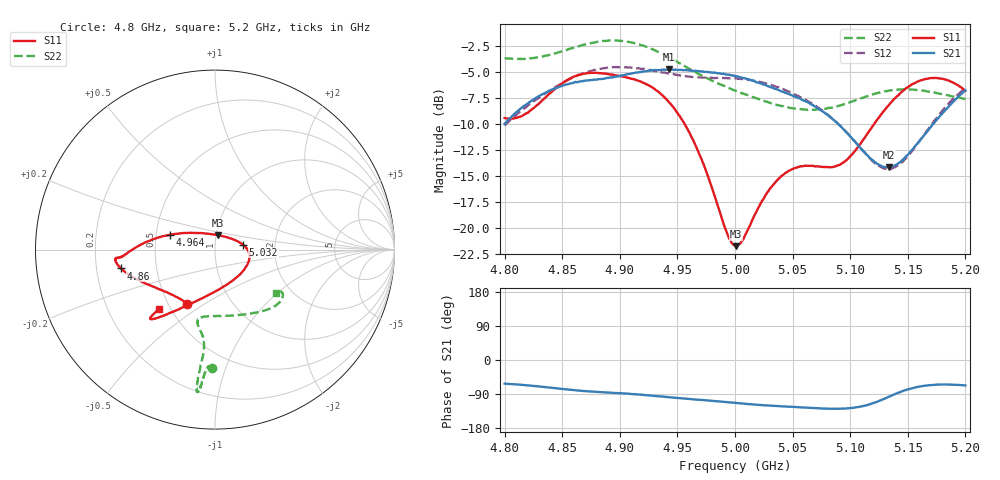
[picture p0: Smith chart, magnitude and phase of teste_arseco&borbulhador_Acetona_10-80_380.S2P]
! Network Analyzer HP8722D
! Hewlett-Packard
! Data name: Linha & Wilkinson
! Saver's name: Rodrigo Anjos
! Comments: Teste da utilização de aquisição
! continua pelo VNA HP8722D
! Time and date: 17/4/2025 17:31
!  Frequency  S11  S21  S12  S22
# HZ  S  MA R 50
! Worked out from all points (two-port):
!   401 points, 4.8 GHz to 5.2 GHz, reference 50 ohm
!   highest |S21| = -4.74 dB at 4.943 GHz (marker M1); lowest = -14.2 dB at 5.134 GHz (marker M2)
!   |S21| within 3 dB of the highest: 4.824 GHz to 5.06 GHz (236.1 MHz wide, 4.78 % of centre); 5.190444 GHz to end of sweep
!   lowest |S11| = -21.8 dB at 5.001 GHz (marker M3), VSWR 1.18, Z = 50.9 + j8.2 ohm
!   |S11| at or under -10 dB: 4.956 GHz to 5.121 GHz (164.6 MHz wide, 3.27 % of centre)
!   |S22| runs from -8.6 to -1.9 dB; largest |S21 - S12| = 0.87
!   S11 on the Smith chart (normalised r, x): 4.8 GHz: 0.62, -0.42; 4.86 GHz: 0.31, -0.09; 4.964 GHz: 0.59, +0.11; 5.032 GHz: 1.37, +0.08; 5.2 GHz: 0.43, -0.36
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4.8e9  0.338 -117.2  0.317 -62.4  0.3106 -176.6  0.6577 -91.6
4.818e9  0.3532 -136.3  0.39 -66.4  0.38 -176.4  0.6528 -93.1
4.86e9  0.535 -168.7  0.5008 -79.6  0.5325 -179.6  0.7374 -95.4
4.867e9  0.55 -171.3  0.5096 -81.7  0.5527 179.1  0.7574 -95.8
4.899e9  0.5393 -175.3  0.5378 -87.5  0.5938 173.0  0.7963 -97.2
4.934e9  0.4501 179.2  0.5755 -96.0  0.5668 170.0  0.7007 -97.4
4.943e9  0.4012 175.0  0.5793 -98.5  0.5546 169.9  0.6615 -97.2
4.964e9  0.2623 161.4  0.5699 -103.7  0.5318 171.8  0.5671 -96.5
4.975e9  0.1869 150.4  0.5644 -106.5  0.5272 172.9  0.5274 -96.7
4.993e9  0.09448 111.4  0.5471 -111.2  0.5261 174.2  0.4752 -98.9
5e9  0.08232 84.1  0.5393 -113.3  0.5254 174.1  0.4587 -100.2
5.001e9  0.08148 79.4  0.5372 -113.3  0.525 174.1  0.4576 -100.5
5.007e9  0.08742 56.2  0.5262 -115.0  0.521 174.1  0.4424 -101.7
5.032e9  0.1582 10.1  0.4744 -120.6  0.4864 172.9  0.3973 -103.4
5.048e9  0.1897 -5.0  0.4376 -123.3  0.45 172.2  0.3778 -99.1
5.067e9  0.1988 -25.3  0.3908 -126.5  0.3965 172.2  0.3698 -88.3
5.096e9  0.2104 -75.7  0.291 -128.0  0.2916 174.9  0.3963 -65.8
5.119e9  0.306 -110.1  0.2127 -114.8  0.2106 -170.1  0.4386 -50.5
5.134e9  0.3936 -121.7  0.1956 -96.4  0.1915 -149.6  0.4586 -43.4
5.148e9  0.468 -128.0  0.2194 -79.5  0.2149 -129.6  0.4649 -38.2
5.168e9  0.5245 -132.4  0.2964 -66.8  0.3008 -113.1  0.4525 -33.6
5.2e9  0.4571 -133.4  0.4593 -67.1  0.472 -109.2  0.4173 -35.0
